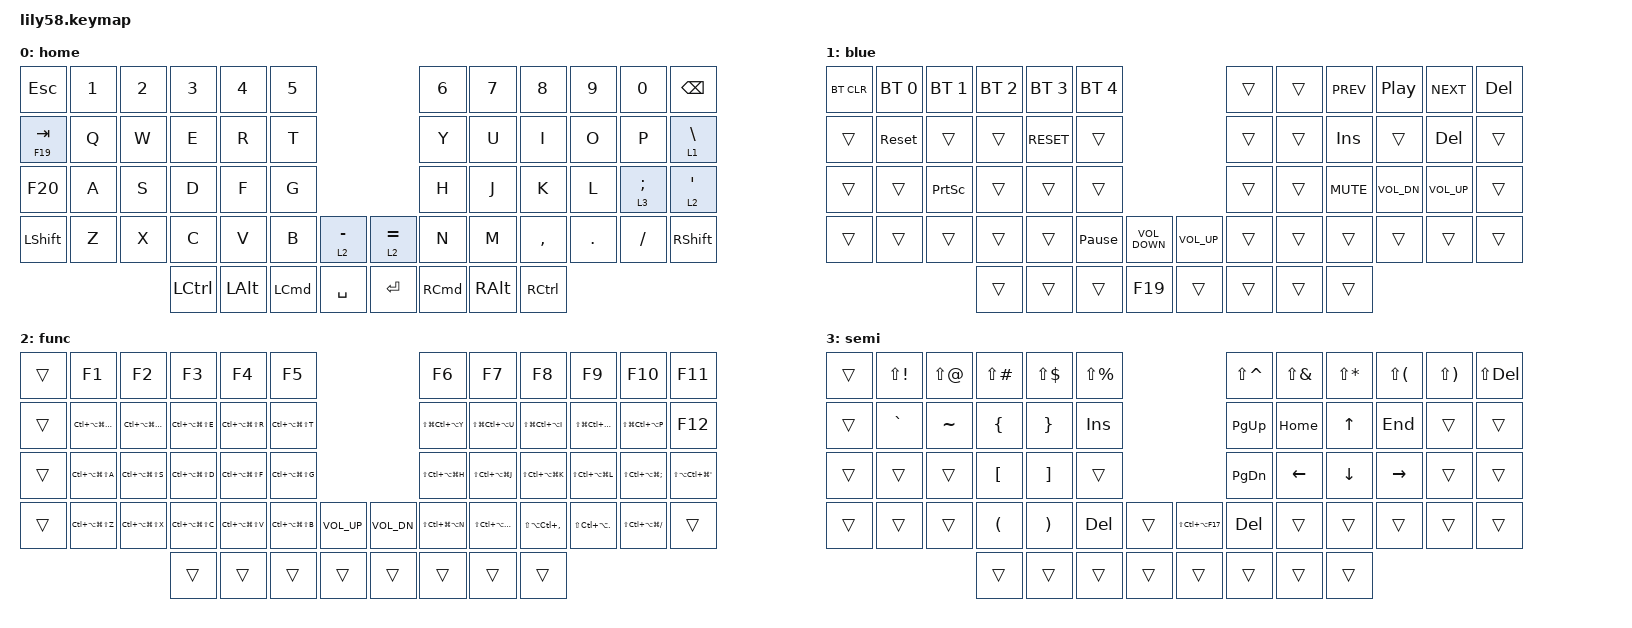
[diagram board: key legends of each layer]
/*
 * Copyright (c) 2020 The ZMK Contributors
 *
 * SPDX-License-Identifier: MIT
 */

#include <behaviors.dtsi>
#include <dt-bindings/zmk/bt.h>
#include <dt-bindings/zmk/keys.h>

&lt {
    tapping-term-ms = <200>;
    require-prior-idle-ms = <150>;
    flavor = "tap-preferred";
    hold-trigger-on-release;
    hold-trigger-key-positions = <20 31 32 33 53 54>;
};

&sk { quick-release; };

/ {
    combos {
        compatible = "zmk,combos";

        Backtick {
            bindings = <&kp GRAVE>;
            key-positions = <13 14>;
        };

        Escape {
            bindings = <&kp ESCAPE>;
            key-positions = <0 1>;
        };
    };

    behaviors {
        hrm_left: hrm_left {
            compatible = "zmk,behavior-hold-tap";
            label = "HRM_LEFT";
            bindings = <&kp>, <&kp>;

            #binding-cells = <2>;
            flavor = "balanced";
            tapping-term-ms = <200>;
            quick-tap-ms = <175>;
            require-prior-idle-ms = <150>;
            hold-trigger-on-release;
            hold-trigger-key-positions = <55 56 57 6 7 8 9 10 11 18 19 20 21 22 23 30 31 32 33 34 35 44 45 46 47 48 49 43 54>;
        };

        hrm_right: hrm_right {
            compatible = "zmk,behavior-hold-tap";
            label = "HRM_RIGHT";
            bindings = <&kp>, <&kp>;

            #binding-cells = <2>;
            flavor = "balanced";
            tapping-term-ms = <200>;
            quick-tap-ms = <175>;
            require-prior-idle-ms = <150>;
            hold-trigger-on-release;
            hold-trigger-key-positions = <0 1 2 3 4 5 12 13 14 15 16 17 24 25 26 27 28 29 36 37 38 39 40 41 42 50 51 52 53>;
        };

        lt_left: lt_left {
            compatible = "zmk,behavior-hold-tap";
            label = "LT_LEFT";
            bindings = <&mo>, <&kp>;

            #binding-cells = <2>;
            flavor = "balanced";
            tapping-term-ms = <200>;
            quick-tap-ms = <175>;
            require-prior-idle-ms = <150>;
            hold-trigger-on-release;
            hold-trigger-key-positions = <55 56 57 6 7 8 9 10 11 18 19 20 21 22 23 30 31 32 33 34 35 44 45 46 47 48 49 43 54>;
        };

        lt_right: lt_right {
            compatible = "zmk,behavior-hold-tap";
            label = "LT_RIGHT";
            bindings = <&mo>, <&kp>;

            #binding-cells = <2>;
            flavor = "balanced";
            tapping-term-ms = <200>;
            quick-tap-ms = <175>;
            require-prior-idle-ms = <150>;
            hold-trigger-on-release;
            hold-trigger-key-positions = <0 1 2 3 4 5 12 13 14 15 16 17 24 25 26 27 28 29 36 37 38 39 40 41 42 50 51 52 53>;
        };

        lt_semi: lt_semi {
            compatible = "zmk,behavior-hold-tap";
            label = "LT_SEMI";
            bindings = <&mo>, <&kp>;

            #binding-cells = <2>;
            flavor = "tap-preferred";
            tapping-term-ms = <150>;
        };

        lt_A: lt_A {
            compatible = "zmk,behavior-hold-tap";
            label = "LT_A";
            bindings = <&mo>, <&kp>;

            #binding-cells = <2>;
            flavor = "tap-preferred";
            tapping-term-ms = <150>;
            require-prior-idle-ms = <150>;
        };
    };

    keymap {
        compatible = "zmk,keymap";

        default {
            // ------------------------------------------------------------------------------------------------------------
            // |  ESC  |  1  |  2  |  3   |  4   |  5   |                   |  6   |  7    |  8    |  9   |   0   |   `   |
            // |  TAB  |  Q  |  W  |  E   |  R   |  T   |                   |  Y   |  U    |  I    |  O   |   P   |   -   |
            // |  CTRL |  A  |  S  |  D   |  F   |  G   |                   |  H   |  J    |  K    |  L   |   ;   |   '   |
            // | SHIFT |  Z  |  X  |  C   |  V   |  B   |   "["  |  |  "]"  |  N   |  M    |  ,    |  .   |   /   | SHIFT |
            //                     | ALT  | GUI  | LOWER|  SPACE |  | ENTER | RAISE| BSPC  | GUI   |

            bindings = <
&kp ESCAPE      &kp N1  &kp N2  &kp N3            &kp N4        &kp N5                                                   &kp N6             &kp N7    &kp N8     &kp N9   &kp N0                &kp BACKSPACE
&mt F19 TAB     &kp Q   &kp W   &kp E             &kp R         &kp T                                                    &kp Y              &kp U     &kp I      &kp O    &kp P                 &lt 1 BACKSLASH
&kp F20         &kp A   &kp S   &kp D             &kp F         &kp G                                                    &kp H              &kp J     &kp K      &kp L    &lt_semi 3 SEMICOLON  &lt 2 SQT
&kp LEFT_SHIFT  &kp Z   &kp X   &kp C             &kp V         &kp B             &lt_left 2 MINUS    &lt_right 2 EQUAL  &kp N              &kp M     &kp COMMA  &kp DOT  &kp FSLH              &kp RIGHT_SHIFT
                                &kp LEFT_CONTROL  &kp LEFT_ALT  &kp LEFT_COMMAND  &kp SPACE           &kp ENTER          &kp RIGHT_COMMAND  &kp RALT  &kp RCTRL
            >;

            label = "home";
        };

        bluetooth {
            bindings = <
&bt BT_CLR  &bt BT_SEL 0  &bt BT_SEL 1     &bt BT_SEL 2  &bt BT_SEL 3  &bt BT_SEL 4                                        &trans  &trans  &kp C_PREV  &kp C_PLAY_PAUSE  &kp C_NEXT    &kp DELETE
&trans      &sys_reset    &trans           &trans        &kp C_RESET   &trans                                              &trans  &trans  &kp INS     &trans            &kp DELETE    &trans
&trans      &trans        &kp PRINTSCREEN  &trans        &trans        &trans                                              &trans  &trans  &kp K_MUTE  &kp C_VOL_DN      &kp C_VOL_UP  &trans
&trans      &trans        &trans           &trans        &trans        &kp PAUSE_BREAK  &kp C_VOLUME_DOWN    &kp C_VOL_UP  &trans  &trans  &trans      &trans            &trans        &trans
                                           &trans        &trans        &trans           &kp F19              &trans        &trans  &trans  &trans
            >;

            label = "blue";
        };

        function {
            bindings = <
&trans  &kp F1                 &kp F2                 &kp F3                 &kp F4                 &kp F5                                                  &kp F6                 &kp F7                 &kp F8                 &kp F9                 &kp F10                        &kp F11
&trans  &kp LC(LA(LG(LS(Q))))  &kp LC(LA(LG(LS(W))))  &kp LC(LA(LG(LS(E))))  &kp LC(LA(LG(LS(R))))  &kp LC(LA(LG(LS(T))))                                   &kp LS(LG(LC(LA(Y))))  &kp LS(LG(LC(LA(U))))  &kp LS(LG(LC(LA(I))))  &kp LS(LG(LC(LA(O))))  &kp LS(LG(LC(LA(P))))          &kp F12
&trans  &kp LC(LA(LG(LS(A))))  &kp LC(LA(LG(LS(S))))  &kp LC(LA(LG(LS(D))))  &kp LC(LA(LG(LS(F))))  &kp LC(LA(LG(LS(G))))                                   &kp LS(LC(LA(LG(H))))  &kp LS(LC(LA(LG(J))))  &kp LS(LC(LA(LG(K))))  &kp LS(LC(LA(LG(L))))  &kp LS(LC(LA(LG(SEMICOLON))))  &kp LS(LA(LC(LG(APOSTROPHE))))
&trans  &kp LC(LA(LG(LS(Z))))  &kp LC(LA(LG(LS(X))))  &kp LC(LA(LG(LS(C))))  &kp LC(LA(LG(LS(V))))  &kp LC(LA(LG(LS(B))))  &kp C_VOLUME_UP    &kp C_VOL_DN  &kp LS(LC(LG(LA(N))))  &kp LS(LC(LA(LG(M))))  &kp LS(LA(LC(COMMA)))  &kp LS(LC(LA(DOT)))    &kp LS(LC(LA(LG(FSLH))))       &trans
                                                      &trans                 &trans                 &trans                 &trans             &trans        &trans                 &trans                 &trans
            >;

            label = "func";
        };

        semicolon {
            bindings = <
&trans  &kp LS(EXCL)  &kp LS(AT)  &kp LS(POUND)         &kp LS(DLLR)           &kp LS(PRCNT)                                 &kp LS(CARET)  &kp LS(AMPS)    &kp LS(STAR)    &kp LS(LPAR)     &kp LS(RPAR)  &kp LS(DELETE)
&trans  &kp GRAVE     &kp TILDE   &kp LEFT_BRACE        &kp RIGHT_BRACE        &kp INS                                       &kp PG_UP      &kp HOME        &kp UP_ARROW    &kp END          &trans        &trans
&trans  &trans        &trans      &kp LEFT_BRACKET      &kp RIGHT_BRACKET      &trans                                        &kp PG_DN      &kp LEFT_ARROW  &kp DOWN_ARROW  &kp RIGHT_ARROW  &trans        &trans
&trans  &trans        &trans      &kp LEFT_PARENTHESIS  &kp RIGHT_PARENTHESIS  &kp DELETE     &trans    &kp LS(LC(LA(F17)))  &kp DEL        &trans          &trans          &trans           &trans        &trans
                                  &trans                &trans                 &trans         &trans    &trans               &trans         &trans          &trans
            >;

            label = "semi";
        };
    };
};
